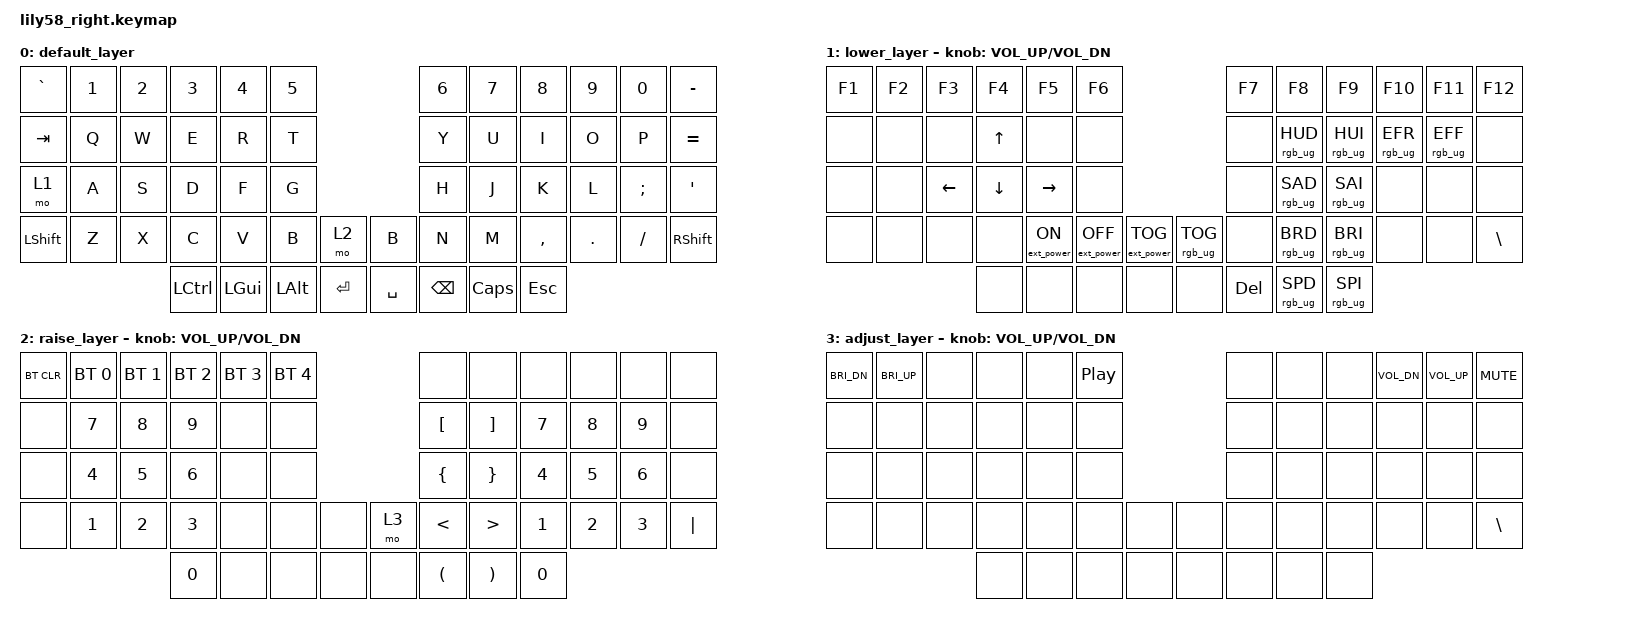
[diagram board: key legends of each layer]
/*
 * Copyright (c) 2020 The ZMK Contributors
 *
 * SPDX-License-Identifier: MIT
 */

#include <dt-bindings/led/led.h>
#include <dt-bindings/zmk/reset.h>
#include <behaviors.dtsi>
#include <dt-bindings/zmk/backlight.h>
#include <dt-bindings/zmk/bt.h>
#include <dt-bindings/zmk/ext_power.h>
#include <dt-bindings/zmk/keys.h>
#include <dt-bindings/zmk/pointing.h>
#include <dt-bindings/zmk/rgb.h>

/ {
    combo_brc {
        timeout-ms = <50>;
        key-positions = <1 2>;
        bindings = <&macro_brc>;
    };

    macro_brc: macro_brc {
        compatible = "zmk,behavior-macro";
        label = "macro_brc";
        #binding-cells = <0>;
        bindings = <&kp LBRC &kp RBRC &kp LEFT>;
    };

    combo_bkt {
        timeout-ms = <50>;
        key-positions = <7 8>;
        bindings = <&macro_bkt>;
    };

    macro_bkt: macro_bkt {
        compatible = "zmk,behavior-macro";
        label = "macro_bkt";
        #binding-cells = <0>;
        bindings = <&kp LBKT &kp RBKT &kp LEFT>;
    };

    combo_than {
        timeout-ms = <50>;
        key-positions = <13 14>;
        bindings = <&macro_than>;
    };

    macro_than: macro_than {
        compatible = "zmk,behavior-macro";
        label = "macro_than";
        #binding-cells = <0>;
        bindings = <&kp LT &kp GT &kp LEFT>;
    };

    combo_par {
        timeout-ms = <50>;
        key-positions = <19 20>;
        bindings = <&macro_par>;
    };

    macro_par: macro_par {
        compatible = "zmk,behavior-macro";
        label = "macro_par";
        #binding-cells = <0>;
        bindings = <&kp LPAR &kp RPAR &kp LEFT>;
    };

    macro_dquo: macro_quo {
        compatible = "zmk,behavior-macro";
        #binding-cells = <0>;
        bindings = <&kp DOUBLE_QUOTES &kp DOUBLE_QUOTES &kp LEFT_ARROW>;
        label = "MACRO_QUO";
    };

    macro_squo: macro_squo {
        compatible = "zmk,behavior-macro";
        #binding-cells = <0>;
        bindings = <&kp SQT &kp SQT &kp LEFT_ARROW>;
        label = "MACRO_SQUO";
    };

    macro_lock: macro_lock {
        compatible = "zmk,behavior-macro";
        #binding-cells = <0>;
        bindings = <&kp LC(LG(Q))>;
        label = "MACRO_LOCK";
    };

    combos {
        compatible = "zmk,combos";

        combo_brc {
            bindings = <&macro_brc>;
            key-positions = <1 2>;
        };

        combo_bkt {
            bindings = <&macro_bkt>;
            key-positions = <13 14>;
        };

        combo_than {
            bindings = <&macro_than>;
            key-positions = <25 26>;
        };

        combo_par {
            bindings = <&macro_par>;
            key-positions = <37 38>;
        };

        macro_dquo {
            bindings = <&macro_dquo>;
            key-positions = <34 33>;
        };

        macro_squo {
            bindings = <&macro_squo>;
            key-positions = <22 21>;
        };

        macro_lock {
            bindings = <&macro_lock>;
            key-positions = <42 43>;
        };

        mouse_click {
            bindings = <&mkp LCLK>;
            key-positions = <51 50>;
        };

        mouse_click_r {
            bindings = <&mkp RCLK>;
            key-positions = <53 52>;
        };

        backlight_on {
            bindings = <&bl BL_ON>;
            key-positions = <7 6>;
        };

        ext_power_on {
            bindings = <&ext_power EP_ON>;
            key-positions = <6 8 7>;
        };

        backspace {
            bindings = <&kp BACKSPACE>;
            key-positions = <28 27>;
        };

        delete {
            bindings = <&kp DELETE>;
            key-positions = <26 27 28>;
        };

        space {
            bindings = <&kp SPACE>;
            key-positions = <42 53>;
        };

        esc {
            bindings = <&kp ESC>;
            key-positions = <0 1>;
        };

        forwards {
            bindings = <&kp LG(RIGHT_BRACKET)>;
            key-positions = <2 3>;
        };

        stylepaste {
            bindings = <&kp LS(LA(LG(V)))>;
            key-positions = <40 27>;
        };

        copy {
            bindings = <&kp LG(C)>;
            key-positions = <39 27>;
        };
    };

    macros {
    };

    keymap {
        compatible = "zmk,keymap";

        default_layer {
            // ------------------------------------------------------------------------------------------------------------
            // |   `   |  1  |  2  |  3   |  4   |  5   |                   |  6   |  7    |  8    |  9   |   0   |   -   |
            // |  TAB  |  Q  |  W  |  E   |  R   |  T   |                   |  Y   |  U    |  I    |  O   |   P   |   =   |
            // | LOWER |  A  |  S  |  D   |  F   |  G   |                   |  H   |  J    |  K    |  L   |   ;   |   '   |
            // | SHIFT |  Z  |  X  |  C   |  V   |  B   |  RAISE |  |   B   |  N   |  M    |  ,    |  .   |   /   | SHIFT |
            //                     | LCTRL| LGUI | LALT |  ENTER |  | SPACE | BSPC | LOCK  | ESC   |

            bindings = <
&kp GRAVE  &kp N1  &kp N2  &kp N3     &kp N4    &kp N5                          &kp N6    &kp N7    &kp N8     &kp N9   &kp N0    &kp MINUS
&kp TAB    &kp Q   &kp W   &kp E      &kp R     &kp T                           &kp Y     &kp U     &kp I      &kp O    &kp P     &kp EQUAL
&mo 1      &kp A   &kp S   &kp D      &kp F     &kp G                           &kp H     &kp J     &kp K      &kp L    &kp SEMI  &kp SQT
&kp LSHFT  &kp Z   &kp X   &kp C      &kp V     &kp B     &mo 2      &kp B      &kp N     &kp M     &kp COMMA  &kp DOT  &kp FSLH  &kp RSHFT
                           &kp LCTRL  &kp LGUI  &kp LALT  &kp RET    &kp SPACE  &kp BSPC  &kp CAPS  &kp ESC
            >;
        };

        lower_layer {
            // ------------------------------------------------------------------------------------------------------------
            // |  F1   |  F2 |  F3 |  F4  |  F5  |  F6  |                   |  F7  |  F8   |  F9   |  F10 |  F11  |  F12 |
            // |       |     |     |  UP  |      |      |                   |RGB_ON|RGB_HUD|RGB_HUI|RGB_EFR|RGB_EFF|     |
            // |       |     | LEFT| DOWN |RIGHT |      |                   |RGB_OFF|RGB_SAD|RGB_SAI|      |       |      |
            // |       |     |     |      | EP_ON|EP_OFF| EP_TOG |  |RGB_TOG|      |RGB_BRD|RGB_BRI|      |       |  \   |
            //                     |      |      |      |        |  |       |  DEL |RGB_SPD|RGB_SPI|

            bindings = <
&kp F1  &kp F2  &kp F3    &kp F4    &kp F5            &kp F6                                                   &kp F7   &kp F8           &kp F9           &kp F10          &kp F11          &kp F12
&none   &none   &none     &kp UP    &none             &none                                                    &none    &rgb_ug RGB_HUD  &rgb_ug RGB_HUI  &rgb_ug RGB_EFR  &rgb_ug RGB_EFF  &none
&none   &none   &kp LEFT  &kp DOWN  &kp RIGHT         &none                                                    &none    &rgb_ug RGB_SAD  &rgb_ug RGB_SAI  &none            &none            &none
&none   &none   &none     &none     &ext_power EP_ON  &ext_power EP_OFF  &ext_power EP_TOG    &rgb_ug RGB_TOG  &none    &rgb_ug RGB_BRD  &rgb_ug RGB_BRI  &none            &none            &kp BACKSLASH
                          &none     &none             &none              &none                &none            &kp DEL  &rgb_ug RGB_SPD  &rgb_ug RGB_SPI
            >;

            sensor-bindings = <&inc_dec_kp C_VOL_UP C_VOL_DN>;
        };

        raise_layer {
            // ------------------------------------------------------------------------------------------------------------
            // | BTCLR | BT1 | BT2 |  BT3 |  BT4 |  BT5 |                   |      |      |       |      |       |       |
            // |       |     |     |      |      |      |                   |  [   |  ]   |       |      |       |       |
            // |       |     |     |      |      |      |                   |  {   |  }   |       |      |       |       |
            // |       |     |     |      |      |      |        |  | ADJUST|  <   |  >   |       |      |       |   |   |
            //                     |      |      |      |        |  |       |  (   |  )   |       |

            bindings = <
&bt BT_CLR  &bt BT_SEL 0  &bt BT_SEL 1  &bt BT_SEL 2  &bt BT_SEL 3  &bt BT_SEL 4                  &none     &none     &none         &none         &none         &none
&none       &kp NUMBER_7  &kp NUMBER_8  &kp NUMBER_9  &none         &none                         &kp LBKT  &kp RBKT  &kp NUMBER_7  &kp NUMBER_8  &kp NUMBER_9  &none
&none       &kp NUMBER_4  &kp N5        &kp NUMBER_6  &none         &none                         &kp LBRC  &kp RBRC  &kp NUMBER_4  &kp NUMBER_5  &kp NUMBER_6  &none
&none       &kp NUMBER_1  &kp NUMBER_2  &kp NUMBER_3  &none         &none         &none    &mo 3  &kp LT    &kp GT    &kp NUMBER_1  &kp NUMBER_2  &kp NUMBER_3  &kp PIPE
                                        &kp NUMBER_0  &none         &none         &none    &none  &kp LPAR  &kp RPAR  &kp NUMBER_0
            >;

            sensor-bindings = <&inc_dec_kp C_VOL_UP C_VOL_DN>;
        };

        adjust_layer {
            // ------------------------------------------------------------------------------------------------------------
            // |C_BRI_DN|C_BRI_UP|     |      |      |C_PP|                 |      |      |       |C_VOL_DN|C_VOL_UP|C_MUTE|
            // |       |     |     |      |      |      |                   |      |      |       |        |        |      |
            // |       |     |     |      |      |      |                   |      |      |       |        |        |      |
            // |       |     |     |      |      |      |        |  |       |      |      |       |        |        |      |
            //                     |      |      |      |        |  |       |      |      |       |

            bindings = <
&kp C_BRI_DN  &kp C_BRI_UP  &none  &none  &none  &kp C_PP                  &none  &none  &none  &kp C_VOL_DN  &kp C_VOL_UP  &kp C_MUTE
&none         &none         &none  &none  &none  &none                     &none  &none  &none  &none         &none         &none
&none         &none         &none  &none  &none  &none                     &none  &none  &none  &none         &none         &none
&none         &none         &none  &none  &none  &none     &none    &none  &none  &none  &none  &none         &none         &kp BSLH
                                   &none  &none  &none     &none    &none  &none  &none  &none
            >;

            sensor-bindings = <&inc_dec_kp C_VOL_UP C_VOL_DN>;
        };
    };
};
